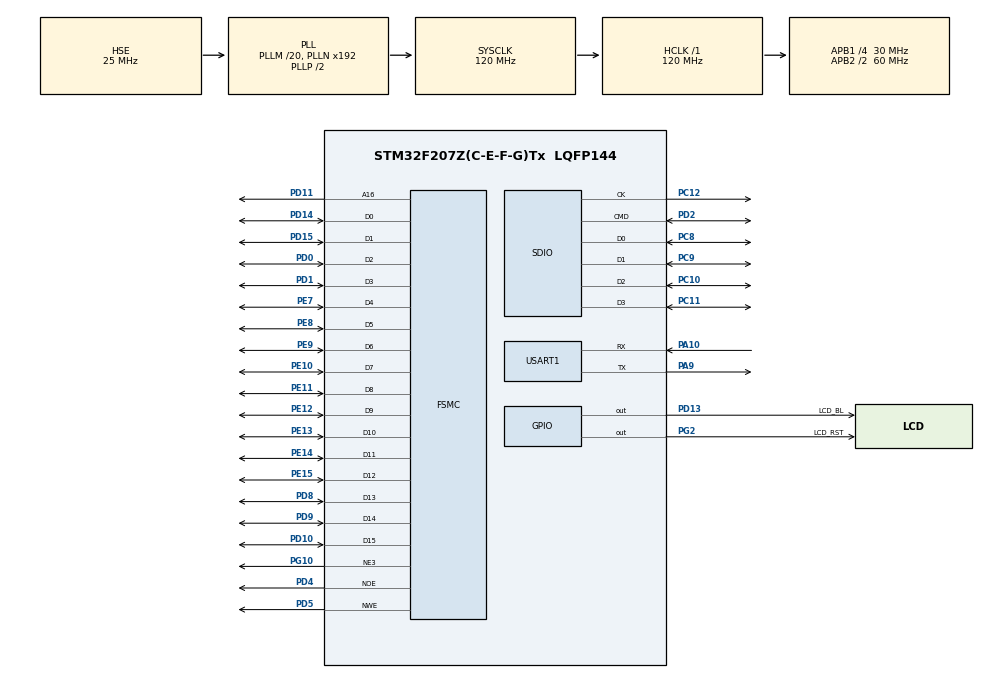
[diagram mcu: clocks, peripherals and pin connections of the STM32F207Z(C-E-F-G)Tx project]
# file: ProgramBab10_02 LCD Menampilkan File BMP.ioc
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FATFS._USE_LFN=1
FSMC.AddressSetupTime1=5
FSMC.DataSetupTime1=5
FSMC.ExtendedMode1=FSMC_EXTENDED_MODE_DISABLE
Mcu.Family=STM32F2
Mcu.Name=STM32F207Z(C-E-F-G)Tx
Mcu.Package=LQFP144
NVIC.PriorityGroup=NVIC_PRIORITYGROUP_4
PA10.Mode=Asynchronous
PA10.Signal=USART1_RX
PA9.Mode=Asynchronous
PA9.Signal=USART1_TX
PC10.Mode=SD_4_bits_Wide_bus
PC10.Signal=SDIO_D2
PC11.Mode=SD_4_bits_Wide_bus
PC11.Signal=SDIO_D3
PC12.Mode=SD_4_bits_Wide_bus
PC12.Signal=SDIO_CK
PC8.Mode=SD_4_bits_Wide_bus
PC8.Signal=SDIO_D0
PC9.Mode=SD_4_bits_Wide_bus
PC9.Signal=SDIO_D1
PD0.Signal=FSMC_D2_DA2
PD1.Signal=FSMC_D3_DA3
PD10.Signal=FSMC_D15_DA15
PD11.Signal=FSMC_A16_CLE
PD13.GPIO_Label=LCD_BL
PD13.Signal=GPIO_Output
PD14.Signal=FSMC_D0_DA0
PD15.Signal=FSMC_D1_DA1
PD2.Mode=SD_4_bits_Wide_bus
PD2.Signal=SDIO_CMD
PD4.Signal=FSMC_NOE
PD5.Signal=FSMC_NWE
PD8.Signal=FSMC_D13_DA13
PD9.Signal=FSMC_D14_DA14
PE10.Signal=FSMC_D7_DA7
PE11.Signal=FSMC_D8_DA8
PE12.Signal=FSMC_D9_DA9
PE13.Signal=FSMC_D10_DA10
PE14.Signal=FSMC_D11_DA11
PE15.Signal=FSMC_D12_DA12
PE7.Signal=FSMC_D4_DA4
PE8.Signal=FSMC_D5_DA5
PE9.Signal=FSMC_D6_DA6
PG10.Mode=NorPsramChipSelect3_1
PG10.Signal=FSMC_NE3
PG2.GPIO_Label=LCD_RST
PG2.Signal=GPIO_Output
PH0-OSC_IN.Mode=HSE-External-Oscillator
PH0-OSC_IN.Signal=RCC_OSC_IN
PH1-OSC_OUT.Mode=HSE-External-Oscillator
PH1-OSC_OUT.Signal=RCC_OSC_OUT
ProjectManager.HeapSize=0x200
ProjectManager.StackSize=0x400
ProjectManager.TargetToolchain=STM32CubeIDE
RCC.48MHZClocksFreq_Value=48000000
RCC.AHBFreq_Value=120000000
RCC.APB1CLKDivider=RCC_HCLK_DIV4
RCC.APB1Freq_Value=30000000
RCC.APB1TimFreq_Value=60000000
RCC.APB2CLKDivider=RCC_HCLK_DIV2
RCC.APB2Freq_Value=60000000
RCC.APB2TimFreq_Value=120000000
RCC.CortexFreq_Value=120000000
RCC.HCLKFreq_Value=120000000
RCC.HSE_VALUE=25000000
RCC.HSI_VALUE=16000000
RCC.LSE_VALUE=32768
RCC.PLLM=20
RCC.PLLQ=5
RCC.PLLSourceVirtual=RCC_PLLSOURCE_HSE
RCC.SYSCLKFreq_VALUE=120000000
RCC.SYSCLKSource=RCC_SYSCLKSOURCE_PLLCLK
RCC.VCOOutputFreq_Value=240000000
SH.FSMC_A16_CLE.0=FSMC_A16,A16_1
SH.FSMC_D0_DA0.0=FSMC_D0,16b-d1
SH.FSMC_D10_DA10.0=FSMC_D10,16b-d1
SH.FSMC_D11_DA11.0=FSMC_D11,16b-d1
SH.FSMC_D12_DA12.0=FSMC_D12,16b-d1
SH.FSMC_D13_DA13.0=FSMC_D13,16b-d1
SH.FSMC_D14_DA14.0=FSMC_D14,16b-d1
SH.FSMC_D15_DA15.0=FSMC_D15,16b-d1
SH.FSMC_D1_DA1.0=FSMC_D1,16b-d1
SH.FSMC_D2_DA2.0=FSMC_D2,16b-d1
SH.FSMC_D3_DA3.0=FSMC_D3,16b-d1
SH.FSMC_D4_DA4.0=FSMC_D4,16b-d1
SH.FSMC_D5_DA5.0=FSMC_D5,16b-d1
SH.FSMC_D6_DA6.0=FSMC_D6,16b-d1
SH.FSMC_D7_DA7.0=FSMC_D7,16b-d1
SH.FSMC_D8_DA8.0=FSMC_D8,16b-d1
SH.FSMC_D9_DA9.0=FSMC_D9,16b-d1
SH.FSMC_NOE.0=FSMC_NOE,Lcd1
SH.FSMC_NWE.0=FSMC_NWE,Lcd1
USART1.VirtualMode=VM_ASYNC
VP_FATFS_VS_SDIO.Mode=SDIO
board=custom

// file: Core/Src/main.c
/* USER CODE BEGIN Header */
/**
  ******************************************************************************
  * @file           : main.c
  * @brief          : Main program body
  ******************************************************************************
  * @attention
  *
  * <h2><center>&copy; Copyright (c) 2019 STMicroelectronics.
  * All rights reserved.</center></h2>
  *
  * This software component is licensed by ST under BSD 3-Clause license,
  * the "License"; You may not use this file except in compliance with the
  * License. You may obtain a copy of the License at:
  *                        opensource.org/licenses/BSD-3-Clause
  *
  ******************************************************************************
  */
/* USER CODE END Header */

#include "main.h"
#include "fatfs.h"
#include "sdio.h"
#include "usart.h"
#include "gpio.h"
#include "fsmc.h"

/* USER CODE BEGIN Includes */
#include "global.h"
/* USER CODE END Includes */

void SystemClock_Config(void);

int main(void)
{
  /* USER CODE BEGIN 1 */
   uint8_t bfr[32];
   uint16_t i;
  /* USER CODE END 1 */

  /* MCU Configuration--------------------------------------------------------*/

  /* Reset of all peripherals, Initializes the Flash interface and the Systick. */
  HAL_Init();

  /* Configure the system clock */
  SystemClock_Config();

  /* Initialize all configured peripherals */
  MX_GPIO_Init();
  MX_FSMC_Init();
  MX_SDIO_SD_Init();
  MX_USART1_UART_Init();
  MX_FATFS_Init();
  /* USER CODE BEGIN 2 */
  printf("LCD Menampilkan file BMP\r\n");
   if (BSP_LCD_Init()==LCD_OK){
	   BSP_LCD_Clear(LCD_COLOR_BLACK);
	   BSP_LCD_SetBackColor(LCD_COLOR_BLACK);
	   BSP_LCD_SetTextColor(LCD_COLOR_WHITE);
	   BSP_LCD_SetFont(&Font12);

	   BSP_LCD_Debug((uint8_t*)"LCD Menampilkan file BMP");
	   BSP_LCD_Debug( (uint8_t*)"SD Card Mount...");
	   if (retSD!=FR_OK){
		   BSP_LCD_Debug( (uint8_t*)"SD Card Mount...ERROR");
		   for(;;);
	   }
	   BSP_LCD_Debug( (uint8_t*)"SD Card Mount...OK");
       Open_Bitmap_File((uint8_t*)"helloimage_0.bmp");

    }
  /* USER CODE END 2 */

  /* Infinite loop */
  while (1)
  {

  }
}

void SystemClock_Config(void)
{
  RCC_OscInitTypeDef RCC_OscInitStruct = {0};
  RCC_ClkInitTypeDef RCC_ClkInitStruct = {0};

  /** Initializes the CPU, AHB and APB busses clocks
  */
  RCC_OscInitStruct.OscillatorType = RCC_OSCILLATORTYPE_HSE;
  RCC_OscInitStruct.HSEState = RCC_HSE_ON;
  RCC_OscInitStruct.PLL.PLLState = RCC_PLL_ON;
  RCC_OscInitStruct.PLL.PLLSource = RCC_PLLSOURCE_HSE;
  RCC_OscInitStruct.PLL.PLLM = 20;
  RCC_OscInitStruct.PLL.PLLN = 192;
  RCC_OscInitStruct.PLL.PLLP = RCC_PLLP_DIV2;
  RCC_OscInitStruct.PLL.PLLQ = 5;
  if (HAL_RCC_OscConfig(&RCC_OscInitStruct) != HAL_OK)
  {
    Error_Handler();
  }
  /** Initializes the CPU, AHB and APB busses clocks
  */
  RCC_ClkInitStruct.ClockType = RCC_CLOCKTYPE_HCLK|RCC_CLOCKTYPE_SYSCLK
                              |RCC_CLOCKTYPE_PCLK1|RCC_CLOCKTYPE_PCLK2;
  RCC_ClkInitStruct.SYSCLKSource = RCC_SYSCLKSOURCE_PLLCLK;
  RCC_ClkInitStruct.AHBCLKDivider = RCC_SYSCLK_DIV1;
  RCC_ClkInitStruct.APB1CLKDivider = RCC_HCLK_DIV4;
  RCC_ClkInitStruct.APB2CLKDivider = RCC_HCLK_DIV2;

  if (HAL_RCC_ClockConfig(&RCC_ClkInitStruct, FLASH_LATENCY_3) != HAL_OK)
  {
    Error_Handler();
  }
}

void Error_Handler(void)
{
}

/************************ (C) COPYRIGHT STMicroelectronics *****END OF FILE****/
